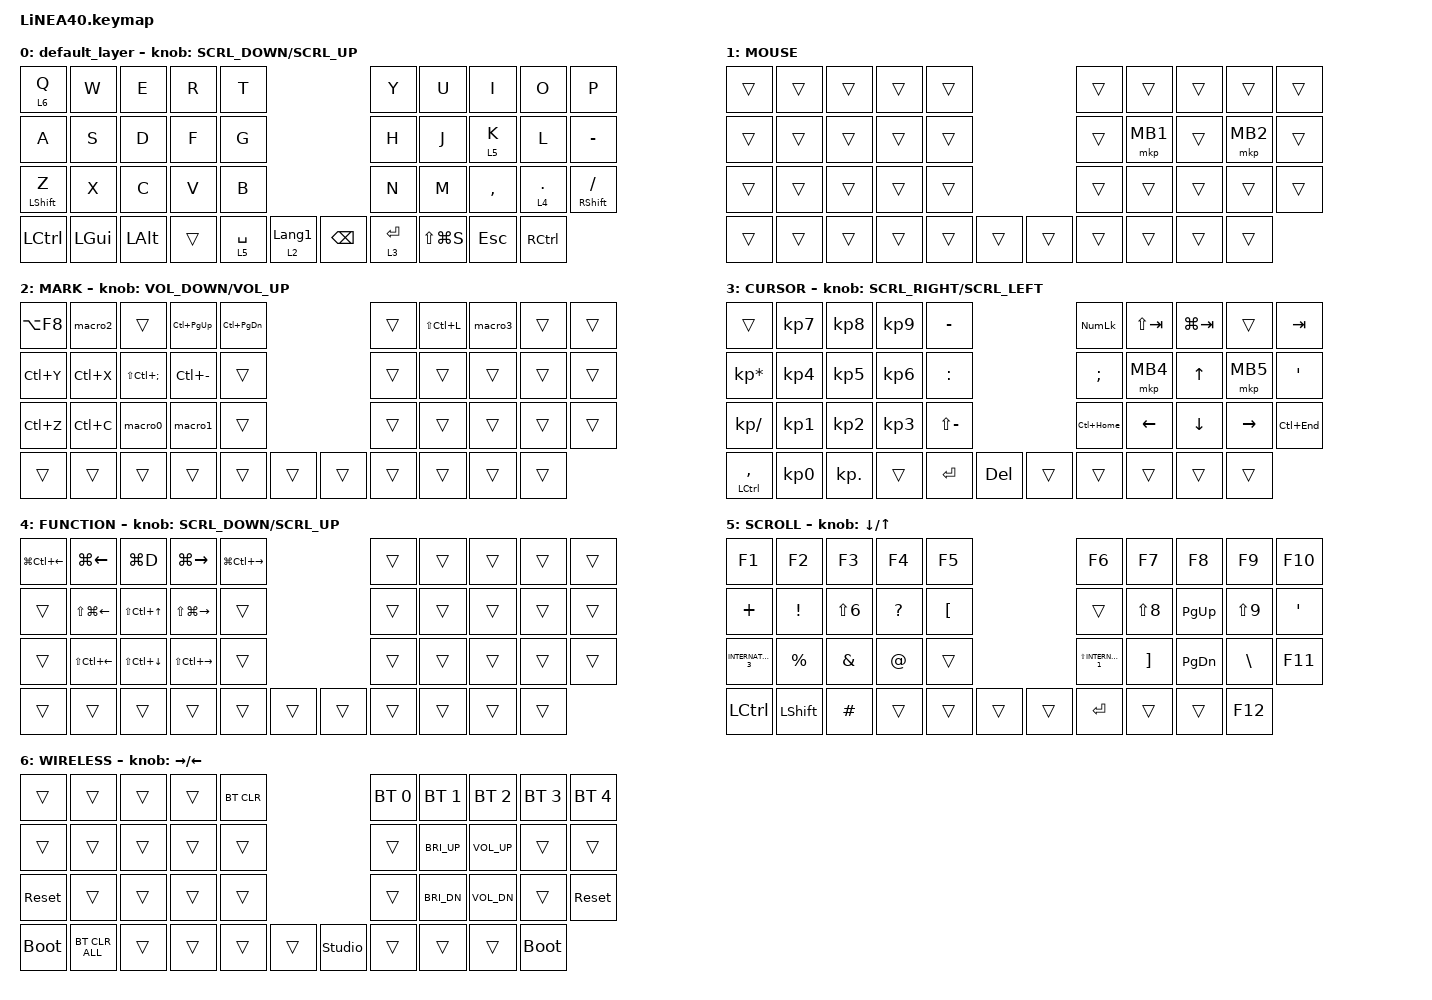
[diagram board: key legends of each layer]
#define ZMK_POINTING_DEFAULT_SCRL_VAL 150

#include <dt-bindings/zmk/input_transform.h>
#include <input/processors.dtsi>
#include <zephyr/dt-bindings/input/input-event-codes.h>
#include <scroll-snap.dtsi>
#include <behaviors.dtsi>
#include <dt-bindings/zmk/bt.h>
#include <dt-bindings/zmk/keys.h>
#include <dt-bindings/zmk/pointing.h>

#define MOUSE 1
#define MARK 2
#define CURSOR 3
#define FUNCTION 4
#define SCROLL 5
#define WIRELESS 6

&mt {
    flavor = "balanced";
    quick-tap-ms = <0>;
};

&lt {
    quick-tap-ms = <0>; // 初期設定は300
    flavor = "balanced";
};

&mkp_input_listener { input-processors = <&zip_temp_layer 1 300>; };

//mouse cursol

&mmv {
    delay-ms = <20>;
    trigger-period-ms = <5>;
    time-to-max-speed-ms = <100>;
    acceleration-exponent = <2>;
};

//mouse scroll

&msc {
    delay-ms = <3>;
    trigger-period-ms = <3>;
    time-to-max-speed-ms = <100>;
    acceleration-exponent = <0>;
};

/ {
    input_processors {
        zip_wheel_scaler: zip_wheel_scaler {
            compatible = "zmk,input-processor-scaler";
            #input-processor-cells = <2>;
            type = <INPUT_EV_REL>;
            codes = <INPUT_REL_WHEEL>;
            track-remainders;
        };
    };
};

&msc_input_listener {
    speed_up {
        layers = <FUNCTION>;
        input-processors = <&zip_wheel_scaler 3 1>; //スクロールを3倍速にする
    };
};

&trackball_listener {
    scroller {
        layers = <SCROLL>;
        input-processors =
            <&zip_xy_transform INPUT_TRANSFORM_Y_INVERT>,
            // 縦スクロール方向反転,
            <&zip_xy_to_scroll_mapper>,
            //スクロールモードに変更,
            <&zip_scroll_snap>,
            //スクロールスナップ,
            <&zip_wheel_scaler 1 8>;
                      // スクロール量を1/8
    };
};

/ {
    combos {
        compatible = "zmk,combos";

        ZenkakuHankaku {
            bindings = <&kp GRAVE>;
            key-positions = <11 12>;
        };

        LeftClick {
            bindings = <&mkp MB1>;
            key-positions = <17 16>;
        };

        RightClick {
            bindings = <&mkp MB2>;
            key-positions = <18 17>;
        };

        alt_ctrl_del {
            bindings = <&kp LA(LC(DELETE))>;
            key-positions = <9 37>;
        };

        lang2 {
            bindings = <&kp LANGUAGE_2>;
            key-positions = <37 34>;
        };

        shift {
            bindings = <&kp LEFT_SHIFT>;
            key-positions = <36 35>;
        };
    };

    behaviors {
        re_kp: sensor_rotate_kp {
            compatible = "zmk,behavior-sensor-rotate-var";
            #sensor-binding-cells = <2>;
            bindings = <&kp>, <&kp>;
        };

        mouse_scrl: mouse_wheel_scrl {
            compatible = "zmk,behavior-sensor-rotate-var";
            #sensor-binding-cells = <2>;
            bindings = <&msc>, <&msc>;

            tap-ms = <20>;
        };
    };

    macros {
        macro0: macro0 {
            compatible = "zmk,behavior-macro";
            #binding-cells = <0>;
            bindings = <&kp LA(LC(V)) &kp V &kp ENTER>;
            label = "MACRO0";
        };

        macro1: macro1 {
            compatible = "zmk,behavior-macro";
            #binding-cells = <0>;
            bindings = <&kp LA(H) &kp M &kp C &kp ENTER>;
            label = "MACRO1";
        };

        macro2: macro2 {
            compatible = "zmk,behavior-macro";
            #binding-cells = <0>;
            bindings = <&kp LC(G) &kp LA(S) &kp K &kp ENTER>;
            label = "MACRO2";
        };

        macro3: macro3 {
            compatible = "zmk,behavior-macro";
            #binding-cells = <0>;
            bindings = <&kp LEFT_ALT &kp D &kp F &kp S>;
            label = "MACRO3";
        };
    };

    keymap {
        compatible = "zmk,keymap";

        default_layer {
            bindings = <
&lt 6 Q           &kp W         &kp E         &kp R   &kp T                                           &kp Y        &kp U  &kp I          &kp O       &kp P
&kp A             &kp S         &kp D         &kp F   &kp G                                           &kp H        &kp J  &lt 5 K        &kp L       &kp MINUS
&mt LEFT_SHIFT Z  &kp X         &kp C         &kp V   &kp B                                           &kp N        &kp M  &kp COMMA      &lt 4 DOT   &mt RIGHT_SHIFT SLASH
&kp LCTRL         &kp LEFT_GUI  &kp LEFT_ALT  &trans  &lt 5 SPACE  &lt 2 LANGUAGE_1    &kp BACKSPACE  &lt 3 ENTER         &kp LS(LG(S))  &kp ESCAPE  &kp RCTRL
            >;

            sensor-bindings = <&mouse_scrl SCRL_DOWN SCRL_UP>;
        };

        //1

        MOUSE {
            bindings = <
&trans  &trans  &trans  &trans  &trans                    &trans  &trans    &trans  &trans    &trans
&trans  &trans  &trans  &trans  &trans                    &trans  &mkp MB1  &trans  &mkp MB2  &trans
&trans  &trans  &trans  &trans  &trans                    &trans  &trans    &trans  &trans    &trans
&trans  &trans  &trans  &trans  &trans  &trans    &trans  &trans            &trans  &trans    &trans
            >;
        };

        //2

        MARK {
            bindings = <
&kp LA(F8)  &macro2    &trans            &kp LC(PG_UP)  &kp LC(PAGE_DOWN)                    &trans  &kp LS(LC(L))  &macro3  &trans  &trans
&kp LC(Y)   &kp LC(X)  &kp LS(LC(SEMI))  &kp LC(MINUS)  &trans                               &trans  &trans         &trans   &trans  &trans
&kp LC(Z)   &kp LC(C)  &macro0           &macro1        &trans                               &trans  &trans         &trans   &trans  &trans
&trans      &trans     &trans            &trans         &trans             &trans    &trans  &trans                 &trans   &trans  &trans
            >;

            sensor-bindings = <&re_kp C_VOLUME_DOWN C_VOLUME_UP>;
        };

        //3

        CURSOR {
            bindings = <
&trans           &kp KP_NUMBER_7  &kp KP_NUMBER_8  &kp KP_NUMBER_9  &kp MINUS                            &kp KP_NUM     &kp LS(TAB)     &kp LG(TAB)     &trans           &kp TAB
&kp KP_MULTIPLY  &kp KP_NUMBER_4  &kp KP_NUMBER_5  &kp KP_NUMBER_6  &kp COLON                            &kp SEMICOLON  &mkp MB4        &kp UP_ARROW    &mkp MB5         &kp SINGLE_QUOTE
&kp KP_SLASH     &kp KP_NUMBER_1  &kp KP_NUMBER_2  &kp KP_NUMBER_3  &kp LS(MINUS)                        &kp LC(HOME)   &kp LEFT_ARROW  &kp DOWN_ARROW  &kp RIGHT_ARROW  &kp LC(END)
&mt LCTRL COMMA  &kp KP_NUMBER_0  &kp KP_DOT       &trans           &kp ENTER      &kp DELETE    &trans  &trans                         &trans          &trans           &trans
            >;

            sensor-bindings = <&mouse_scrl SCRL_RIGHT SCRL_LEFT>;
        };

        //4

        FUNCTION {
            bindings = <
&kp LG(LC(LEFT_ARROW))  &kp LG(LEFT_ARROW)      &kp LG(D)               &kp LG(RIGHT_ARROW)      &kp LG(LC(RIGHT_ARROW))                    &trans  &trans  &trans  &trans  &trans
&trans                  &kp LS(LG(LEFT_ARROW))  &kp LS(LC(UP_ARROW))    &kp LS(LG(RIGHT_ARROW))  &trans                                     &trans  &trans  &trans  &trans  &trans
&trans                  &kp LS(LC(LEFT_ARROW))  &kp LS(LC(DOWN_ARROW))  &kp LS(LC(RIGHT_ARROW))  &trans                                     &trans  &trans  &trans  &trans  &trans
&trans                  &trans                  &trans                  &trans                   &trans                   &trans    &trans  &trans          &trans  &trans  &trans
            >;

            sensor-bindings = <&mouse_scrl SCRL_DOWN SCRL_UP>;
        };

        //5

        SCROLL {
            bindings = <
&kp F1               &kp F2          &kp F3            &kp F4        &kp F5                              &kp F6                   &kp F7             &kp F8         &kp F9         &kp F10
&kp PLUS             &kp EXCL        &kp LS(NUMBER_6)  &kp QUESTION  &kp LEFT_BRACKET                    &trans                   &kp LS(N8)         &kp PG_UP      &kp LS(N9)     &kp SINGLE_QUOTE
&kp INTERNATIONAL_3  &kp PERCENT     &kp AMPERSAND     &kp AT        &trans                              &kp LS(INTERNATIONAL_1)  &kp RIGHT_BRACKET  &kp PAGE_DOWN  &kp BACKSLASH  &kp F11
&kp LCTRL            &kp LEFT_SHIFT  &kp HASH          &trans        &trans            &trans    &trans  &kp ENTER                                   &trans         &trans         &kp F12
            >;

            sensor-bindings = <&inc_dec_kp DOWN_ARROW UP_ARROW>;
        };

        //6

        WIRELESS {
            bindings = <
&trans       &trans          &trans  &trans  &bt BT_CLR                            &bt BT_SEL 0  &bt BT_SEL 1  &bt BT_SEL 2  &bt BT_SEL 3  &bt BT_SEL 4
&trans       &trans          &trans  &trans  &trans                                &trans        &kp C_BRI_UP  &kp C_VOL_UP  &trans        &trans
&sys_reset   &trans          &trans  &trans  &trans                                &trans        &kp C_BRI_DN  &kp C_VOL_DN  &trans        &sys_reset
&bootloader  &bt BT_CLR_ALL  &trans  &trans  &trans      &trans    &studio_unlock  &trans                      &trans        &trans        &bootloader
            >;

            sensor-bindings = <&inc_dec_kp RIGHT_ARROW LEFT_ARROW>;
        };
    };
};
